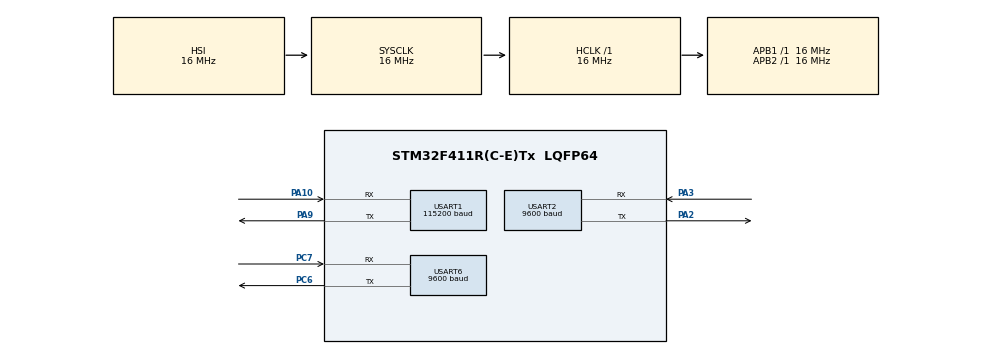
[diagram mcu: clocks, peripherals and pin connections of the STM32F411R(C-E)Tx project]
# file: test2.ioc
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Dma.Request0=USART1_RX
Dma.Request1=USART1_TX
Dma.USART1_RX.0.Direction=DMA_PERIPH_TO_MEMORY
Dma.USART1_RX.0.FIFOMode=DMA_FIFOMODE_DISABLE
Dma.USART1_RX.0.Instance=DMA2_Stream2
Dma.USART1_RX.0.MemDataAlignment=DMA_MDATAALIGN_BYTE
Dma.USART1_RX.0.MemInc=DMA_MINC_ENABLE
Dma.USART1_RX.0.Mode=DMA_CIRCULAR
Dma.USART1_RX.0.PeriphDataAlignment=DMA_PDATAALIGN_BYTE
Dma.USART1_RX.0.PeriphInc=DMA_PINC_DISABLE
Dma.USART1_RX.0.Priority=DMA_PRIORITY_LOW
Dma.USART1_TX.1.Direction=DMA_MEMORY_TO_PERIPH
Dma.USART1_TX.1.FIFOMode=DMA_FIFOMODE_DISABLE
Dma.USART1_TX.1.Instance=DMA2_Stream7
Dma.USART1_TX.1.MemDataAlignment=DMA_MDATAALIGN_BYTE
Dma.USART1_TX.1.MemInc=DMA_MINC_ENABLE
Dma.USART1_TX.1.Mode=DMA_CIRCULAR
Dma.USART1_TX.1.PeriphDataAlignment=DMA_PDATAALIGN_BYTE
Dma.USART1_TX.1.PeriphInc=DMA_PINC_DISABLE
Dma.USART1_TX.1.Priority=DMA_PRIORITY_LOW
Mcu.Family=STM32F4
Mcu.Name=STM32F411R(C-E)Tx
Mcu.Package=LQFP64
NVIC.DMA2_Stream2_IRQn=true\:0\:0\:false\:false\:true\:false\:true
NVIC.DMA2_Stream7_IRQn=true\:0\:0\:false\:false\:true\:false\:true
NVIC.PriorityGroup=NVIC_PRIORITYGROUP_4
NVIC.USART1_IRQn=true\:3\:0\:true\:false\:true\:true\:true
NVIC.USART2_IRQn=true\:2\:0\:true\:false\:true\:true\:true
NVIC.USART6_IRQn=true\:1\:0\:true\:false\:true\:true\:true
PA10.Mode=Asynchronous
PA10.Signal=USART1_RX
PA2.Mode=Asynchronous
PA2.Signal=USART2_TX
PA3.Mode=Asynchronous
PA3.Signal=USART2_RX
PA9.Mode=Asynchronous
PA9.Signal=USART1_TX
PC14-OSC32_IN.Mode=LSE-External-Oscillator
PC14-OSC32_IN.Signal=RCC_OSC32_IN
PC15-OSC32_OUT.Mode=LSE-External-Oscillator
PC15-OSC32_OUT.Signal=RCC_OSC32_OUT
PC6.Mode=Asynchronous
PC6.Signal=USART6_TX
PC7.Mode=Asynchronous
PC7.Signal=USART6_RX
PH0\ -\ OSC_IN.Mode=HSE-External-Oscillator
PH0\ -\ OSC_IN.Signal=RCC_OSC_IN
PH1\ -\ OSC_OUT.Mode=HSE-External-Oscillator
PH1\ -\ OSC_OUT.Signal=RCC_OSC_OUT
ProjectManager.HeapSize=0x200
ProjectManager.StackSize=0x400
ProjectManager.TargetToolchain=MDK-ARM V5.32
RCC.AHBFreq_Value=16000000
RCC.APB1Freq_Value=16000000
RCC.APB2Freq_Value=16000000
RCC.CortexFreq_Value=16000000
RCC.HSE_VALUE=25000000
RCC.HSI_VALUE=16000000
RCC.SYSCLKFreq_VALUE=16000000
RCC.VCOOutputFreq_Value=192000000
USART1.BaudRate=115200
USART1.VirtualMode=VM_ASYNC
USART2.BaudRate=9600
USART2.VirtualMode=VM_ASYNC
USART6.BaudRate=9600
USART6.VirtualMode=VM_ASYNC
board=custom

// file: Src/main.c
/* USER CODE BEGIN Header */
/**
  ******************************************************************************
  * @file           : main.c
  * @brief          : Main program body
  ******************************************************************************
  * @attention
  *
  * Copyright (c) 2021 STMicroelectronics.
  * All rights reserved.
  *
  * This software is licensed under terms that can be found in the LICENSE file
  * in the root directory of this software component.
  * If no LICENSE file comes with this software, it is provided AS-IS.
  *
  ******************************************************************************
  */
/* USER CODE END Header */
#include "main.h"
#include "usart.h"
#include "gpio.h"
#include <stdio.h>
#include <string.h>
#include <stdlib.h>
#include <math.h>

/* USER CODE BEGIN PV */

//**************************** 全局变量定义  **************************
	int k=0,i=0,j=0,counter=0;//循环计数器，每1000次循环重新拨号
	int Reset=0,Locked=0,Stolen=0,exlocked=0;//状态变量
	const double pi=3.1415926535;//Π值
	double speed_standard = 1.45;//速度阈值,单位m/s(可调)
	char douhao=',';
	char GNGGA[6]={"GNGGA,"};//GNGGA格式GPS语句起始标识符
	uint8_t startsign_uint='$',input;//GPS语句起始标识符
	char Ending = 0x1A;//结束符，无回车换行符号
	//************************ uint8型GNGGA结构体  *****************************
struct GNGGA_uint8{	//参见NMEA-0183协议
	uint8_t UTC[11];						//UTC时间
	uint8_t Latitude[11];				//纬度
	uint8_t La_hemi[2];					//纬度半球
	uint8_t	Longitude[12];			//经度
	uint8_t	Lo_hemi[2];					//经度半球
	uint8_t	GPS_state[2];				//定位状态
	uint8_t satellites[3];			//当前卫星数量
	uint8_t index[3];						//精度因子
	uint8_t Elevation[6];				//海拔高度
	uint8_t Elevation_base[4];	//海拔水准
}UINT_GNGGA_DATA;
//************************ char型GNGGA结构体  ******************************
struct GNGGA_char{//参见NMEA-0183协议
	char UTC[11];						//UTC时间 hhmmss.ss
	char Latitude[11];			//纬度	ddff.fffff
	char La_hemi[2];				//纬度半球 N/S
	char Longitude[12];			//经度	dddff.fffff
	char Lo_hemi[2];				//经度半球	E/W
	char GPS_state[2];			//定位状态	0/1/2
	char satellites[3];			//当前卫星数量	nn
	char index[3];					//精度因子	x.xx
	char Elevation[6];			//海拔高度	xxxx.x
	char Elevation_base[4];	//海拔水准	xx.x
}CHAR_GNGGA_DATA;
//************************ 物理世界数据类型结构体定义 ***************************************
struct REAL_GNNGA{
	double	UTC;						//UTC时间输入
	double 	s;							//UTC时间-秒
	double 	Latitude;				//维度-度
	int 		La_hemi;				//维度半球,rule:1N,0S
	double	Longitude;			//经度-度
	int 		Lo_hemi;				//经度半球,rule:1E,0W
	int 		GPS_state;			//gps状态：0-未定位，1-非差分定位，2-差分定位
	int 		satellites;			//当前卫星数
	double	index;					//精度指数
	double	Elevation;			//海拔高度-m
	double 	Elevation_base;	//海拔水准-m
}REAL_GNGGA_DATA;
	//************************ 速度相关数据结构体定义 ***************************************
struct SPEED_DATA_{
//存放当前循环输入的结果，用于和2计算得速度。计算完成后移入2
	double time1;			//时间-秒
	double Latitude1;	//纬度-度
	double Longitude1;//经度-度
//存放上次循环输入的结果，用于和1计算得速度。
	double time2;			//时间-秒
	double Latitude2;	//纬度-度
	double Longitude2;//经度-度
//存放当此循环计算的结果。
	double curren_speed;//当前速度-m/s
}SPEED_DATA={0,0,0,0,0,0,0};//初始化

	//************************经度解析 结构体定义***************************************
struct Longitude{
	unsigned long init; 		//整型经度
	unsigned	int d;				//度
	unsigned	int f1;				//分-整数部分
	unsigned	int f2;				//分-小数部分
	double f;								//分-浮点型
	double out;							//经度最终结果,单位度
}longitude;
				//************************经度解析 结构体定义***************************************
//纬度解析 结构体定义
struct Latitude{
	int init;			//整型纬度
	int d;				//度-整数
	int f1;				//分-整数部分
	int f2;				//分-小数部分
	double f;			//分-浮点结果
	double out;		//纬度最终结果,单位度
}latitude;

/* USER CODE END PV */

void SystemClock_Config(void);
/* USER CODE BEGIN PFP */

//--------------------------------------------------------------函数封装-------------------------------------------------------------------------
//**********************************L610初始化函数**********************************
void l610init(void)
{
	printf("AT\r\n");//检测模块
	HAL_Delay(100);
	printf("ATI\r\n");//查询模块版本
	HAL_Delay(100);
	printf("AT+CPIN?\r\n");//查询SIM卡
	HAL_Delay(100);
	printf("AT+CSQ\r\n");//查询信号
	HAL_Delay(100);
	printf("AT+CGREG?\r\n");//查询PS注册情况
	HAL_Delay(100);
	printf("AT+GTSET=\"IPRFMT\",5\r\n");//查询模块信息
	HAL_Delay(100);
	printf("AT+CGMR?\r\n");//查询版本号
	HAL_Delay(100);
	printf("AT+MIPCALL?\r\n");//查询是否获得IP
	HAL_Delay(100);
	printf("AT+MIPCALL=1\r\n");//请求IP
	HAL_Delay(100);
	printf("AT+MIPCALL?\r\n");//查询是否获得IP
	HAL_Delay(100);
	printf("AT+TCDEVINFOSET=1,\"WTOL134TCU\",\"vehicle\",\"4gE7q66Gv65hk3NzmrvHVQ==\"\r\n");//设置平台设备信息
	HAL_Delay(100);
	printf("AT+TCMQTTCONN=1,10000,240,1,1\r\n");//设置链接参数并连接
	HAL_Delay(100);
	printf("AT+TCMQTTSUB=\"$thing/down/property/WTOL134TCU/vehicle\",1\r\n");//订阅上报下行属性标签
	HAL_Delay(100);
}

//***********************************短信初始化函数**********************************
void NOTE(void)
{
	printf("AT\r\n");//检测模块
	HAL_Delay(100);
	printf("ATI\r\n");//查询模块版本
	HAL_Delay(100);
	printf("AT+CPIN?\r\n");//查询SIM卡
	HAL_Delay(100);
	printf("AT+CSQ\r\n");//查询信号
	HAL_Delay(100);
	printf("AT+CGREG?\r\n");//查询PS注册情况
	HAL_Delay(100);
	printf("AT+COPS?\r\n");//查询运营商
	HAL_Delay(100);
		//printf("AT+CAVIMS=1\r\n");//电信卡使能（联通、移动不用）
		//HAL_Delay(100);
	printf("AT+CSCA?\r\n");//查询短信中心号码
	HAL_Delay(100);
		//printf("AT+CSCA=\".....\"\r\n");//若无短信中心号码，自主设置
		//HAL_Delay(100);
	printf("AT+CPMS=\"SM\"\r\n");//短信有优先存于SM卡中
	HAL_Delay(100);
	printf("AT+CNMI=2,1,0,0,0\r\n");//上报收到的短信编号
	HAL_Delay(100);
	printf("AT+CMGF=1\r\n");//文本短信模式
	HAL_Delay(100);
	printf("AT+CSMP=17,167,0,0\r\n");//有效期24小时
	HAL_Delay(100);
}

//***********************************下行接收函数**********************************
void down_detect()
{
				for(i=0;i<200;i++)
					{
						HAL_UART_Receive(&huart1, &input,1 ,10);
						if(input=='L')
						{
							HAL_UART_Receive(&huart1, &input,1 ,10);
							if(input=='o')
							{
								HAL_UART_Receive(&huart1, &input,1 ,10);
								if(input=='c')
								{
									HAL_UART_Receive(&huart1, &input,1 ,10);
									if(input=='k')
									{
										HAL_UART_Receive(&huart1, &input,1 ,10);
										if(input=='e')
										{
											HAL_UART_Receive(&huart1, &input,1 ,10);
											if(input=='d')
											{
												HAL_UART_Receive(&huart1, &input,1 ,10);
												if(input=='"')
												{
													HAL_UART_Receive(&huart1, &input,1 ,10);
													if(input==':')
													{
														HAL_UART_Receive(&huart1, &input,1 ,10);
														if(input=='1')//若检测到锁车命令
														{
															Locked=1;
															printf("AT+TCMQTTPUB=\"$thing/up/property/WTOL134TCU/vehicle\",1,\"{\\\"method\\\":\\\"report\\\",\\\"clientToken\\\":\\\"123\\\",\\\"params\\\":{\\\"Locked\\\":1}}\"\r\n");

															if(exlocked==0)
															{
																//短信
																printf("AT+CMGS=\"15859624566\"\r\n");//接收号码
																HAL_Delay(100);
																printf("Locked successfully.\r\n");//短信内容
																HAL_Delay(300);
																printf("%c",Ending);//结束
																HAL_Delay(300);
																printf("AT+CMGD=1\r\n");//删除第一条短信内容，避免溢出
																HAL_Delay(200);

																exlocked=Locked;
															}

															/*调试用代码*/  //printf("Lock turns 1 detected");
															break;
														}
														if(input=='0')//若检测到开锁命令
														{
															Locked=0;
															printf("AT+TCMQTTPUB=\"$thing/up/property/WTOL134TCU/vehicle\",1,\"{\\\"method\\\":\\\"report\\\",\\\"clientToken\\\":\\\"123\\\",\\\"params\\\":{\\\"Locked\\\":0}}\"\r\n");

														if(exlocked==1)
															{
																//短信
																printf("AT+CMGS=\"15859624566\"\r\n");//接收号码
																HAL_Delay(100);
																printf("Unlocked successfully.\r\n");//短信内容
																HAL_Delay(300);
																printf("%c",Ending);//结束
																HAL_Delay(300);
																printf("AT+CMGD=1\r\n");//删除第一条短信内容，避免溢出
																HAL_Delay(200);

																exlocked=Locked;
															}

															/*调试用代码*/  //printf("Lock turns 0 detected");
															break;
														}
													}
												}
											}
										}
									}
								}
							}
						}
					}
}

//***********************************数据存储函数**********************************
void GNGGA_save()
{
			i=0;
			j=0;
//****************** 数据预存储 ********************
		uint8_t data[70];
		for(i=0;i<70;i++)//字符串长度，可改
			{
				HAL_UART_Receive(&huart6, &input, 1 ,10);//获取
					data[i]=input;
				if(input==startsign_uint)//检测到$自动跳出
					break;
			}
//******************  UTC时间存储 ********************
			for(i=0;;)
			{
				if(data[j]!=douhao)
				{
					UINT_GNGGA_DATA.UTC[i]=data[j];
					i++;
					j++;
				}
				else
				{
					j++;
					break;//如果是','跳出
				}
			}
//****************** 维度存储 ********************/
			for(i=0;;)
			{
				if(data[j]!=douhao)
				{
					UINT_GNGGA_DATA.Latitude[i]=data[j];
					i++;
					j++;
				}
				else
				{
					j++;
					break;	//如果检测到','跳出
				}
			}
//****************** 纬度半球 ********************
			for(i=0;;)
			{
				if(data[j]!=douhao)
				{
					UINT_GNGGA_DATA.La_hemi[i]=data[j];
					i++;
					j++;
				}
				else
				{
					j++;
					break;	//如果检测到','跳出
				}
			}
//****************** 经度 存储 ********************
			for(i=0;;)
			{
				if(data[j]!=douhao)
				{
					UINT_GNGGA_DATA.Longitude[i]=data[j];
					i++;
					j++;
				}
				else
				{
					j++;
					break;		//如果检测到','跳出
				}
			}
//****************** 经度半球 ********************
			for(i=0;;)
			{
				if(data[j]!=douhao)
				{
					UINT_GNGGA_DATA.Lo_hemi[i]=data[j];
					i++;
					j++;
				}
				else
				{
					j++;
					break;		//如果检测到','跳出
				}
			}
//****************** GPS定位状态 ********************
			for(i=0;;)
			{
				if(data[j]!=douhao)
				{
					UINT_GNGGA_DATA.GPS_state[i]=data[j];
					i++;
					j++;
				}
				else
				{
					j++;
					break;		//如果检测到','跳出
				}
			}
//****************** 卫星数量 存储********************/
			for(i=0;;)
			{
				if(data[j]!=douhao)
				{
					UINT_GNGGA_DATA.satellites[i]=data[j];
					i++;
					j++;
				}
				else
				{
					j++;
					break;		//如果检测到','跳出
				}
			}
//****************** 精度因子 存储 *******************
			for(i=0;;)
			{
				if(data[j]!=douhao)
				{
					UINT_GNGGA_DATA.index[i]=data[j];
					i++;
					j++;
				}
				else
				{
					j++;
					break;		//如果检测到','跳出
				}
			}
//****************** 海拔高度 ********************/
		for(i=0;;)
			{
				if(data[j]!=douhao)
				{
					UINT_GNGGA_DATA.Elevation[i]=data[j];
					i++;
					j++;
				}
				else
				{
					j++;
					break;		//如果检测到','跳出
				}
			}
//****************** 海拔水准 ********************
			for(i=0;;)
			{
				if(data[j]!=douhao)
				{
					UINT_GNGGA_DATA.Elevation_base[i]=data[j];
					i++;
					j++;
				}
				else
				{
					j++;
					break;		//如果检测到','跳出
				}
			}
		}
//-----------------定位信息解析函数------------------------
void GNGGA_analysis()
{
	//****************** UCT转换 1 ********************
				char* p;//空数组定义
				//结构体定义
				struct uct{
					int time;
					int h;
					int m;
					int s1;
					int s2;
					double s;
				}uct;

				//uint8转char
				for(i=0;i<10;i++)
				{
					CHAR_GNGGA_DATA.UTC[i]=(char)UINT_GNGGA_DATA.UTC[i];
				}

				//字符转整型
				REAL_GNGGA_DATA.UTC=strtof(CHAR_GNGGA_DATA.UTC,&p);
				uct.time=REAL_GNGGA_DATA.UTC*100.0;

				//数据解析 存入uct.s，单位秒，float
				uct.h =uct.time/1000000;
				uct.m =uct.time/10000;
				uct.m =uct.m%100;
				uct.s1 =uct.time/100;
				uct.s1 =uct.s1%100;
				uct.s2 =uct.time%100;
				uct.s = uct.h*3600.0+uct.m*60.0+uct.s1*1.0+uct.s2/1000;

				//时间解析结果存储
				REAL_GNGGA_DATA.UTC=uct.s;
				SPEED_DATA.time1=uct.s;//时分秒转换为秒

//******************  纬度解析  ********************

				//char* p  ;空数组已经定义
				//纬度 uint8转char
				for(i=0;i<10;i++)
				{CHAR_GNGGA_DATA.Latitude[i]=(char)UINT_GNGGA_DATA.Latitude[i];}

				//字符转整型
				REAL_GNGGA_DATA.Latitude=strtof(CHAR_GNGGA_DATA.Latitude,&p);
				latitude.init =REAL_GNGGA_DATA.Latitude*100000.0;

				//纬度解析
				latitude.d=latitude.init/10000000.0;
				latitude.f1=latitude.init/100000.0;
				latitude.f1=latitude.f1%100;
				latitude.f2=latitude.init%100000;
				latitude.f=(double)latitude.f1*1.0+(double)latitude.f2/100000;
				latitude.f=latitude.f/60.0;
				latitude.out=(double)latitude.d+latitude.f;

				//纬度解析结果存储
				REAL_GNGGA_DATA.Latitude=latitude.out;
				SPEED_DATA.Latitude1=latitude.out;

//******************  经度解析 ********************
				//char* p  ;空数组已经定义

				//uint8转char
				for(i=0;i<11;i++)
				{CHAR_GNGGA_DATA.Longitude[i]=(char)UINT_GNGGA_DATA.Longitude[i];}

				//字符转整型
				REAL_GNGGA_DATA.Longitude=strtof(CHAR_GNGGA_DATA.Longitude,&p);
				longitude.init =REAL_GNGGA_DATA.Longitude*100000;

				//纬度解析
				longitude.d=longitude.init/10000000.0;
				longitude.f1=longitude.init/100000.0;
				longitude.f1=longitude.f1%100;
				longitude.f2=longitude.init%100000;
				longitude.f=(double)longitude.f1*1.0+(double)longitude.f2/100000;
				longitude.f=(double)longitude.f/60.0;
				longitude.out=(double)longitude.d+(double)longitude.f;

				//经度解析结果存储
				REAL_GNGGA_DATA.Longitude=longitude.out;
				SPEED_DATA.Longitude1=longitude.out;

				//海拔转化
				for(i=0;i<5;i++)
				{CHAR_GNGGA_DATA.Elevation[i]=(char)UINT_GNGGA_DATA.Elevation[i];}
				REAL_GNGGA_DATA.Elevation=strtof(CHAR_GNGGA_DATA.Elevation,&p);

			//printf("REAL_GNGGA_DATA.UTC= %lf\n\n",REAL_GNGGA_DATA.UTC);
			//printf("REAL_GNGGA_DATA.Latitude= %lf\n\n",REAL_GNGGA_DATA.Latitude);
			//printf("REAL_GNGGA_DATA.Longitude %lf\n\n\n",REAL_GNGGA_DATA.Longitude);
//******************  速度计算  ********************

		/*时间SPEED_DATA.time1=uct.s;
		//纬度SPEED_DATA.Latitude1=latitude.out;
		//经度	SPEED_DATA.Longitude1=longitude.out;*/

				//定义距离、地球半径
					//两点距离，单位米
						double distance;
					//地球半径，单位米
					double R_earth=6378137;

				//角度转弧度
						//定义
							double rad_la1;//纬度1的弧度值
							double rad_lo1;//经度1的弧度制
							double rad_la2;//纬度2的弧度值
							double rad_lo2;//经度2的弧度制
							//Π的宏定义为pi
						//纬度
							rad_la1=(pi/180.0)*SPEED_DATA.Latitude1;
							rad_la2=(pi/180.0)*SPEED_DATA.Latitude2;
						//经度
							rad_lo1=(pi/180.0)*SPEED_DATA.Longitude1;
							rad_lo2=(pi/180.0)*SPEED_DATA.Longitude2;

				//计算 位移
					double sin1,sin2,cos1,cos2,cos3,arccos0,mul1,mul2,sum0;
					sin1=sin(rad_la1);
					sin2=sin(rad_la2);
					cos1=cos(rad_la1);
					cos2=cos(rad_la2);
					cos3=cos(rad_lo1-rad_lo2);
					mul1=sin1*sin2;
					mul2=cos1*cos2*cos3;
					sum0=mul1+mul2;
					arccos0=acos(sum0);

					distance=arccos0*R_earth;

				//计算 时间差
					double time_dif=fabs(SPEED_DATA.time1-SPEED_DATA.time2);

				//计算 速度
					double speed_cal;
					speed_cal=distance/time_dif;

				//返回 到SPEED_DATA
				if(SPEED_DATA.Latitude2!=0)
					if(speed_cal<100)
					SPEED_DATA.curren_speed=speed_cal;

				//	printf("SPEED_DATA.curren_speed %lf\n\n\n",SPEED_DATA.curren_speed);

//******************  把 SPEED_DATA中的1存入2 ********************

				SPEED_DATA.Latitude2=SPEED_DATA.Latitude1;
				SPEED_DATA.Longitude2=SPEED_DATA.Longitude1;
				SPEED_DATA.time2=SPEED_DATA.time1;
}

/* USER CODE END PFP */

int main(void)
{

  /* MCU Configuration--------------------------------------------------------*/

  /* Reset of all peripherals, Initializes the Flash interface and the Systick. */
  HAL_Init();

  /* Configure the system clock */
  SystemClock_Config();

  /* Initialize all configured peripherals */
  MX_GPIO_Init();
  MX_USART1_UART_Init();
  MX_USART2_UART_Init();
  MX_USART6_UART_Init();

  /* Infinite loop */
  while (1)
  {

	//************************ L610功能初始化 ***************************************
		if(counter==0)//初次启动
		{
			l610init();	//L610设置初始化
			NOTE();			//短信设置
			counter++;
		}
		if(counter>200)//每200次初始化，防掉线
		{
			l610init();//L610初始化
			NOTE();//短信设置
			counter=0;//计数器置零
		}
		else
		{counter+=1;}
//*************************  $GNGGA字头识别函数  **************************************
		down_detect();
		i=0;
		while(1)
		{
			for(;;)
				{
					HAL_UART_Receive(&huart6, &input,1,1);
					if(input==startsign_uint)
					break;
				}

			uint8_t uint_input_6[6];
			char 		char_input_6[6]={"000000"};

			HAL_UART_Receive(&huart6, uint_input_6,6,10);

			for(i=0;i<6;i++)
				{char_input_6[i]=(char)uint_input_6[i];}

			if(strcmp(char_input_6,GNGGA)==0)
				{
					//printf("GNGGA DETECTED");//调试用
					break;
				}
		}

			//数据存储
			GNGGA_save();
//************************存储结果测试*(调试用)**************************

		/*	printf("UINT_GNGGA_DATA.UTC =  %s\n\n",UINT_GNGGA_DATA.UTC);
				printf("UINT_GNGGA_DATA.Latitude =  %s\n\n",UINT_GNGGA_DATA.Latitude);
				printf("UINT_GNGGA_DATA.La_hemi =  %s\n\n",UINT_GNGGA_DATA.La_hemi);
				printf("UINT_GNGGA_DATA.Longitude =  %s\n\n",UINT_GNGGA_DATA.Longitude);
				printf("UINT_GNGGA_DATA.Lo_hemi =  %s\n\n",UINT_GNGGA_DATA.Lo_hemi);
				printf("UINT_GNGGA_DATA.GPS_state =  %s\n\n",UINT_GNGGA_DATA.GPS_state);
				printf("UINT_GNGGA_DATA.satellites =  %s\n\n",UINT_GNGGA_DATA.satellites);
				printf("UINT_GNGGA_DATA.index =  %s\n\n",UINT_GNGGA_DATA.satellites);
				printf("UINT_GNGGA_DATA.Elevation =  %s\n\n",UINT_GNGGA_DATA.Elevation);
				printf("UINT_GNGGA_DATA.Elevation_base =  %s\n\n",UINT_GNGGA_DATA.Elevation_base);
		*/

			//下行接收
			down_detect();
			//定位信息解析
			GNGGA_analysis();
			//下行接收
			down_detect();

			//判断状态并上行定位信息和速度
					if(Locked==1)
						{printf("AT+TCMQTTPUB=\"$thing/up/property/WTOL134TCU/vehicle\",1,\"{\\\"method\\\":\\\"report\\\",\\\"clientToken\\\":\\\"123\\\",\\\"params\\\":{\\\"Reset\\\":%d,\\\"Locked\\\":%d,\\\"Speed\\\":%.3lf,\\\"Elevation\\\":\\\"%lf\\\",\\\"Longitude\\\":\\\"%lf\\\",\\\"Latitude\\\":\\\"%lf\\\"}}\"\r\n",Reset,Locked,SPEED_DATA.curren_speed,REAL_GNGGA_DATA.Elevation,REAL_GNGGA_DATA.Longitude,REAL_GNGGA_DATA.Latitude);}
					else
						printf("AT+TCMQTTPUB=\"$thing/up/property/WTOL134TCU/vehicle\",1,\"{\\\"method\\\":\\\"report\\\",\\\"clientToken\\\":\\\"123\\\",\\\"params\\\":{\\\"Reset\\\":%d,\\\"Speed\\\":%.3lf,\\\"Elevation\\\":\\\"%lf\\\",\\\"Longitude\\\":\\\"%lf\\\",\\\"Latitude\\\":\\\"%lf\\\"}}\"\r\n",Reset,SPEED_DATA.curren_speed,REAL_GNGGA_DATA.Elevation,REAL_GNGGA_DATA.Longitude,REAL_GNGGA_DATA.Latitude);

					char Ending = 0x1A;//结束符，无回车换行符号
					if((SPEED_DATA.curren_speed>=speed_standard)&&(k<10)&&(Locked==1))//k用于短信发送的次数限制
					{
						printf("AT+CMGS=\"15859624566\"\r\n");//接收号码
						HAL_Delay(100);
						printf("Your vehicle is moving, speed: %lf, itmay have been STOLEN!! Please check your WeChat official account TENCENT_lianlian.\r\n",SPEED_DATA.curren_speed);//短信内容
						HAL_Delay(300);
						printf("%c",Ending);//结束
						HAL_Delay(300);
						printf("AT+CMGD=1\r\n");//删除第一条短信内容，避免溢出
						HAL_Delay(200);
						k++;
					}

  }
}

void SystemClock_Config(void)
{
  RCC_OscInitTypeDef RCC_OscInitStruct = {0};
  RCC_ClkInitTypeDef RCC_ClkInitStruct = {0};

  /** Configure the main internal regulator output voltage
  */
  __HAL_RCC_PWR_CLK_ENABLE();
  __HAL_PWR_VOLTAGESCALING_CONFIG(PWR_REGULATOR_VOLTAGE_SCALE1);
  /** Initializes the RCC Oscillators according to the specified parameters
  * in the RCC_OscInitTypeDef structure.
  */
  RCC_OscInitStruct.OscillatorType = RCC_OSCILLATORTYPE_HSI;
  RCC_OscInitStruct.HSIState = RCC_HSI_ON;
  RCC_OscInitStruct.HSICalibrationValue = RCC_HSICALIBRATION_DEFAULT;
  RCC_OscInitStruct.PLL.PLLState = RCC_PLL_NONE;
  if (HAL_RCC_OscConfig(&RCC_OscInitStruct) != HAL_OK)
  {
    Error_Handler();
  }
  /** Initializes the CPU, AHB and APB buses clocks
  */
  RCC_ClkInitStruct.ClockType = RCC_CLOCKTYPE_HCLK|RCC_CLOCKTYPE_SYSCLK
                              |RCC_CLOCKTYPE_PCLK1|RCC_CLOCKTYPE_PCLK2;
  RCC_ClkInitStruct.SYSCLKSource = RCC_SYSCLKSOURCE_HSI;
  RCC_ClkInitStruct.AHBCLKDivider = RCC_SYSCLK_DIV1;
  RCC_ClkInitStruct.APB1CLKDivider = RCC_HCLK_DIV1;
  RCC_ClkInitStruct.APB2CLKDivider = RCC_HCLK_DIV1;

  if (HAL_RCC_ClockConfig(&RCC_ClkInitStruct, FLASH_LATENCY_0) != HAL_OK)
  {
    Error_Handler();
  }
}

void Error_Handler(void)
{
  __disable_irq();
  while (1)
  {
  }
}
